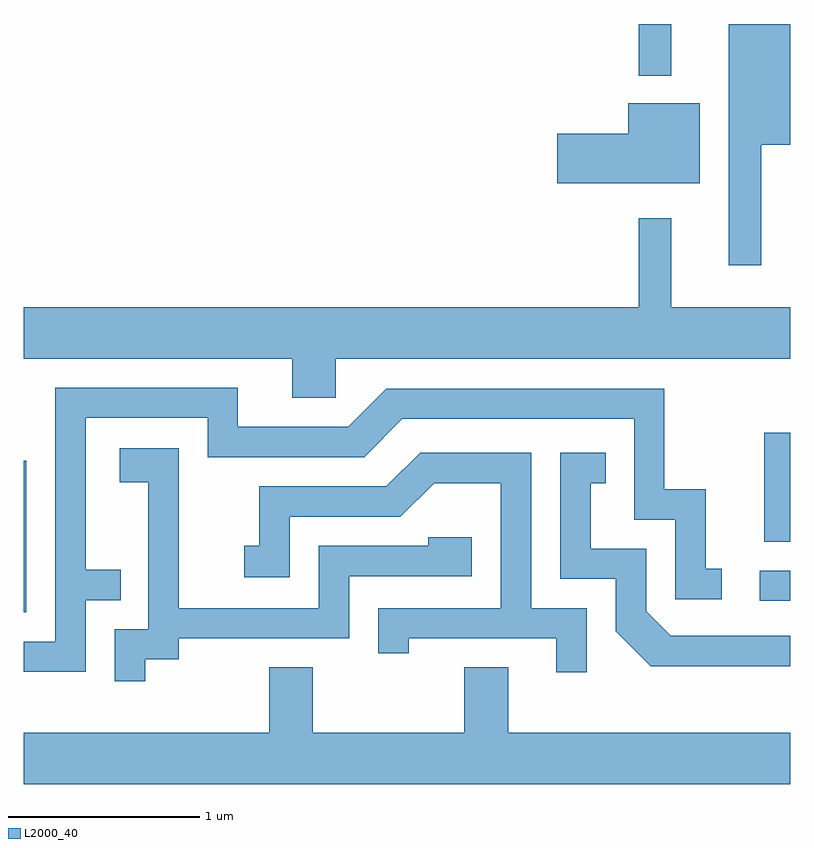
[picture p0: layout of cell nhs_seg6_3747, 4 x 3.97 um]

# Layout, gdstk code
import gdstk
lib = gdstk.Library(unit=1e-6, precision=1e-09)
def R(c, l, rs):  # rectangles x0, y0, x1, y1
    for r in rs: c.add(gdstk.rectangle(r[:2], r[2:], *l))
def P(c, l, *ps):  # polygons
    for p in ps: c.add(gdstk.Polygon(p, *l))
L2000_40 = (2000, 40)

nhs_seg6_3747 = lib.new_cell('nhs_seg6_3747')
R(nhs_seg6_3747, L2000_40, [(297.611,1613.091,297.624,1613.884), (301.453,1613.151,301.611,1613.309), (301.476,1613.461,301.611,1614.029), (300.821,1615.893,300.989,1616.162)])
P(nhs_seg6_3747, L2000_40, [(301.459,1615.531),(301.611,1615.531),(301.611,1616.162),(301.291,1616.162),(301.291,1614.903),(301.459,1614.903)],
  [(301.139,1615.749),(300.766,1615.749),(300.766,1615.589),(300.396,1615.589),(300.396,1615.331),(301.139,1615.331)],
  [(299.239,1614.416),(301.611,1614.416),(301.611,1614.684),(300.989,1614.684),(300.989,1615.148),(300.821,1615.148),(300.821,1614.684),(297.611,1614.684),(297.611,1614.416),(299.011,1614.416),(299.011,1614.211),(299.239,1614.211)],
  [(297.934,1613.156),(298.118,1613.156),(298.118,1613.314),(297.934,1613.314),(297.934,1614.106),(298.571,1614.106),(298.571,1613.901),(299.387,1613.901),(299.587,1614.101),(300.796,1614.101),(300.796,1613.576),(301.011,1613.576),(301.011,1613.161),(301.253,1613.161),(301.253,1613.319),(301.169,1613.319),(301.169,1613.734),(300.954,1613.734),(300.954,1614.259),(299.504,1614.259),(299.304,1614.059),(298.729,1614.059),(298.729,1614.264),(297.776,1614.264),(297.776,1612.939),(297.611,1612.939),(297.611,1612.781),(297.934,1612.781)],
  [(298.244,1612.846),(298.419,1612.846),(298.419,1612.956),(299.309,1612.956),(299.309,1613.281),(299.949,1613.281),(299.949,1613.484),(299.721,1613.484),(299.721,1613.439),(299.151,1613.439),(299.151,1613.114),(298.419,1613.114),(298.419,1613.949),(298.111,1613.949),(298.111,1613.771),(298.261,1613.771),(298.261,1613.004),(298.086,1613.004),(298.086,1612.733),(298.244,1612.733)],
  [(300.549,1613.114),(300.259,1613.114),(300.259,1613.924),(299.679,1613.924),(299.504,1613.749),(298.841,1613.749),(298.841,1613.439),(298.763,1613.439),(298.763,1613.276),(298.999,1613.276),(298.999,1613.591),(299.577,1613.591),(299.752,1613.766),(300.101,1613.766),(300.101,1613.114),(299.461,1613.114),(299.461,1612.878),(299.619,1612.878),(299.619,1612.956),(300.391,1612.956),(300.391,1612.778),(300.549,1612.778)],
  [(301.611,1612.969),(300.987,1612.969),(300.859,1613.097),(300.859,1613.424),(300.569,1613.424),(300.569,1613.766),(300.648,1613.766),(300.648,1613.924),(300.411,1613.924),(300.411,1613.266),(300.701,1613.266),(300.701,1612.994),(300.884,1612.811),(301.611,1612.811)],
  [(301.611,1612.464),(300.139,1612.464),(300.139,1612.804),(299.911,1612.804),(299.911,1612.464),(299.119,1612.464),(299.119,1612.804),(298.891,1612.804),(298.891,1612.464),(297.611,1612.464),(297.611,1612.196),(301.611,1612.196)])

lib.write_gds('nhs_seg6_3747.gds')
